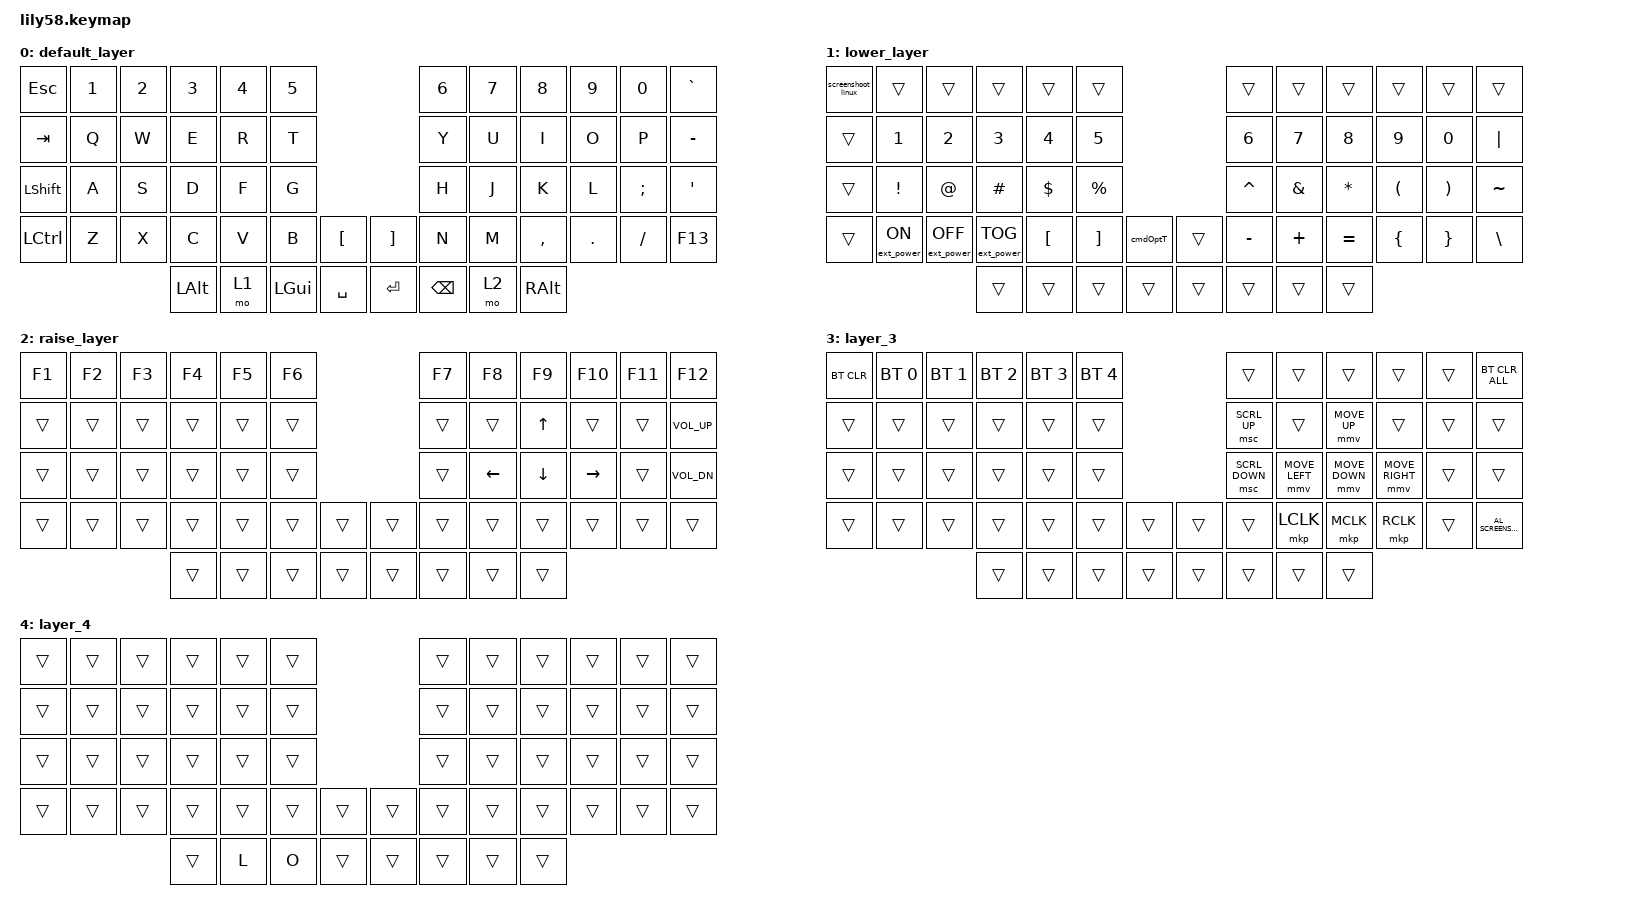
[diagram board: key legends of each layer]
/*
 * Copyright (c) 2020 The ZMK Contributors
 *
 * SPDX-License-Identifier: MIT
 */

#define ZMK_POINTING_DEFAULT_MOVE_VAL 2000  // default: 600
#define ZMK_POINTING_DEFAULT_SCRL_VAL 10  // defauld: 10

#include <behaviors.dtsi>
#include <dt-bindings/zmk/bt.h>
#include <dt-bindings/zmk/ext_power.h>
#include <dt-bindings/zmk/keys.h>
#include <dt-bindings/zmk/pointing.h>

/ {
    combos {
        compatible = "zmk,combos";

        Layer3 {
            bindings = <&mo 3>;
            key-positions = <51 56>;
        };

        game {
            bindings = <&tog 4>;
            key-positions = <49 35 23>;
        };
    };

    macros {
        cmdOptT: cmdOptT {
            compatible = "zmk,behavior-macro";
            #binding-cells = <0>;
            bindings =
                <&macro_press>,
                <&kp LEFT_WIN &kp LEFT_ALT &kp T>,
                <&macro_release>,
                <&kp LEFT_WIN &kp LEFT_ALT &kp T>;

            label = "CMDOPTT";
        };

        screenshoot_mac: screenshoot_mac {
            compatible = "zmk,behavior-macro";
            #binding-cells = <0>;
            bindings =
                <&macro_press>,
                <&kp LEFT_COMMAND &kp LEFT_SHIFT &kp NUMBER_4>,
                <&macro_release>,
                <&kp LEFT_COMMAND &kp LEFT_SHIFT &kp NUMBER_4>;

            label = "SCREENSHOOT_MAC";
        };

        screenshoot_linux: screenshoot_linux {
            compatible = "zmk,behavior-macro";
            #binding-cells = <0>;
            bindings =
                <&macro_press>,
                <&kp LEFT_COMMAND &kp LEFT_SHIFT &kp NUMBER_5>,
                <&macro_release>,
                <&kp LEFT_COMMAND &kp LEFT_SHIFT &kp NUMBER_5>;

            label = "SCREENSHOOT_LINUX";
        };
    };

    keymap {
        compatible = "zmk,keymap";

        default_layer {
            // ------------------------------------------------------------------------------------------------------------
            // |  ESC  |  1  |  2  |  3   |  4   |  5   |                   |  6   |  7    |  8    |  9   |   0   |   `   |
            // |  TAB  |  Q  |  W  |  E   |  R   |  T   |                   |  Y   |  U    |  I    |  O   |   P   |   -   |
            // |  CTRL |  A  |  S  |  D   |  F   |  G   |                   |  H   |  J    |  K    |  L   |   ;   |   '   |
            // | SHIFT |  Z  |  X  |  C   |  V   |  B   |   "["  |  |  "]"  |  N   |  M    |  ,    |  .   |   /   | SHIFT |
            //                     | ALT  | GUI  | LOWER|  SPACE |  | ENTER | RAISE| BSPC  | GUI   |

            bindings = <
&kp ESC           &kp N1  &kp N2  &kp N3        &kp N4  &kp N5                           &kp N6    &kp N7  &kp N8     &kp N9   &kp N0    &kp GRAVE
&kp TAB           &kp Q   &kp W   &kp E         &kp R   &kp T                            &kp Y     &kp U   &kp I      &kp O    &kp P     &kp MINUS
&kp LEFT_SHIFT    &kp A   &kp S   &kp D         &kp F   &kp G                            &kp H     &kp J   &kp K      &kp L    &kp SEMI  &kp SQT
&kp LEFT_CONTROL  &kp Z   &kp X   &kp C         &kp V   &kp B     &kp LBKT     &kp RBKT  &kp N     &kp M   &kp COMMA  &kp DOT  &kp FSLH  &kp F13
                                  &kp LEFT_ALT  &mo 1   &kp LGUI  &kp SPACE    &kp RET   &kp BSPC  &mo 2   &kp RALT
            >;
        };

        lower_layer {
            // ------------------------------------------------------------------------------------------------------------
            // | BTCLR | BT1 | BT2 |  BT3 |  BT4 |  BT5 |                   |      |       |       |      |       |       |
            // |  F1   |  F2 |  F3 |  F4  |  F5  |  F6  |                   |  F7  |  F8   |  F9   |  F10 |  F11  |  F12  |
            // |   `   |  !  |  @  |  #   |  $   |  %   |                   |  ^   |  &    |  *    |  (   |   )   |   ~   |
            // |       |     |     |      |      |      |        |  |       |      |  _    |  +    |  {   |   }   |  "|"  |
            //                     |      |      |      |        |  |       |      |       |       |

            bindings = <
&screenshoot_linux  &trans            &trans             &trans             &trans            &trans                                 &trans        &trans    &trans        &trans        &trans        &trans
&trans              &kp NUMBER_1      &kp NUMBER_2       &kp NUMBER_3       &kp NUMBER_4      &kp NUMBER_5                           &kp NUMBER_6  &kp N7    &kp NUMBER_8  &kp NUMBER_9  &kp NUMBER_0  &kp PIPE
&trans              &kp EXCL          &kp AT             &kp HASH           &kp DOLLAR        &kp PRCNT                              &kp CARET     &kp AMPS  &kp ASTRK     &kp LPAR      &kp RPAR      &kp TILDE
&trans              &ext_power EP_ON  &ext_power EP_OFF  &ext_power EP_TOG  &kp LEFT_BRACKET  &kp RIGHT_BRACKET  &cmdOptT    &trans  &kp MINUS     &kp PLUS  &kp EQUAL     &kp LBRC      &kp RBRC      &kp BSLH
                                                         &trans             &trans            &trans             &trans      &trans  &trans        &trans    &trans
            >;
        };

        raise_layer {
            // ------------------------------------------------------------------------------------------------------------
            // |       |     |     |      |      |      |                   |      |       |       |      |       |       |
            // |   `   |  1  |  2  |  3   |  4   |  5   |                   |  6   |   7   |   8   |  9   |   0   |       |
            // |   F1  |  F2 |  F3 |  F4  |  F5  |  F6  |                   |      |   <-  |   v   |  ^   |  ->   |       |
            // |   F7  |  F8 |  F9 |  F10 |  F11 |  F12 |        |  |       |  +   |   -   |   =   |  [   |   ]   |   \   |
            //                     |      |      |      |        |  |       |      |       |       |

            bindings = <
&kp F1  &kp F2  &kp F3  &kp F4  &kp F5  &kp F6                    &kp F7  &kp F8    &kp F9        &kp F10    &kp F11  &kp F12
&trans  &trans  &trans  &trans  &trans  &trans                    &trans  &trans    &kp UP_ARROW  &trans     &trans   &kp C_VOL_UP
&trans  &trans  &trans  &trans  &trans  &trans                    &trans  &kp LEFT  &kp DOWN      &kp RIGHT  &trans   &kp C_VOL_DN
&trans  &trans  &trans  &trans  &trans  &trans  &trans    &trans  &trans  &trans    &trans        &trans     &trans   &trans
                        &trans  &trans  &trans  &trans    &trans  &trans  &trans    &trans
            >;
        };

        layer_3 {
            bindings = <
&bt BT_CLR  &bt BT_SEL 0  &bt BT_SEL 1  &bt BT_SEL 2  &bt BT_SEL 3  &bt BT_SEL 4                    &trans          &trans          &trans          &trans           &trans  &bt BT_CLR_ALL
&trans      &trans        &trans        &trans        &trans        &trans                          &msc SCRL_UP    &trans          &mmv MOVE_UP    &trans           &trans  &trans
&trans      &trans        &trans        &trans        &trans        &trans                          &msc SCRL_DOWN  &mmv MOVE_LEFT  &mmv MOVE_DOWN  &mmv MOVE_RIGHT  &trans  &trans
&trans      &trans        &trans        &trans        &trans        &trans        &trans    &trans  &trans          &mkp LCLK       &mkp MCLK       &mkp RCLK        &trans  &kp C_AL_SCREENSAVER
                                        &trans        &trans        &trans        &trans    &trans  &trans          &trans          &trans
            >;
        };

        layer_4 {
            bindings = <
&trans  &trans  &trans  &trans  &trans  &trans                    &trans  &trans  &trans  &trans  &trans  &trans
&trans  &trans  &trans  &trans  &trans  &trans                    &trans  &trans  &trans  &trans  &trans  &trans
&trans  &trans  &trans  &trans  &trans  &trans                    &trans  &trans  &trans  &trans  &trans  &trans
&trans  &trans  &trans  &trans  &trans  &trans  &trans    &trans  &trans  &trans  &trans  &trans  &trans  &trans
                        &trans  &kp L   &kp O   &trans    &trans  &trans  &trans  &trans
            >;
        };
    };
};
